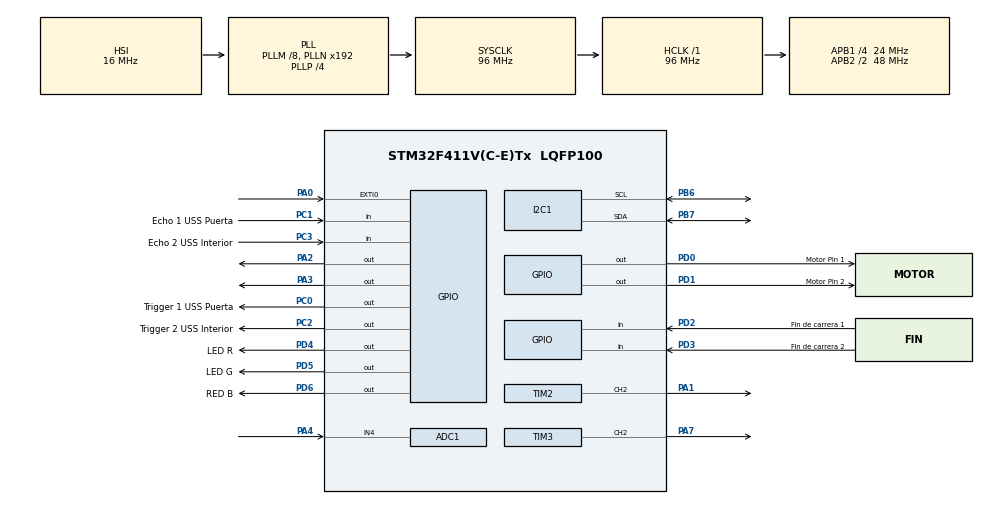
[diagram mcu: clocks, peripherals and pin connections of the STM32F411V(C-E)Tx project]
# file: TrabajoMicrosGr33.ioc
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ADC1.Channel-0\#ChannelRegularConversion=ADC_CHANNEL_4
ADC1.NbrOfConversionFlag=1
ADC1.Rank-0\#ChannelRegularConversion=1
ADC1.SamplingTime-0\#ChannelRegularConversion=ADC_SAMPLETIME_3CYCLES
ADC1.master=1
Mcu.Family=STM32F4
Mcu.Name=STM32F411V(C-E)Tx
Mcu.Package=LQFP100
NVIC.EXTI0_IRQn=true\:0\:0\:false\:false\:true\:true\:true\:true
NVIC.PriorityGroup=NVIC_PRIORITYGROUP_0
NVIC.TIM3_IRQn=true\:0\:0\:false\:false\:true\:true\:true\:true
PA0-WKUP.Signal=GPXTI0
PA1.Signal=S_TIM2_CH2
PA2.Signal=GPIO_Output
PA3.Signal=GPIO_Output
PA4.Signal=ADCx_IN4
PA7.Signal=S_TIM3_CH2
PB6.GPIO_Pu=GPIO_PULLUP
PB6.Mode=I2C
PB6.Signal=I2C1_SCL
PB7.GPIO_Pu=GPIO_PULLUP
PB7.Mode=I2C
PB7.Signal=I2C1_SDA
PC0.GPIO_Label=Trigger 1 USS Puerta
PC0.Signal=GPIO_Output
PC1.GPIO_Label=Echo 1 USS Puerta
PC1.Signal=GPIO_Input
PC2.GPIO_Label=Trigger 2 USS Interior
PC2.Signal=GPIO_Output
PC3.GPIO_Label=Echo 2 USS Interior
PC3.Signal=GPIO_Input
PD0.GPIO_Label=Motor Pin 1
PD0.Signal=GPIO_Output
PD1.GPIO_Label=Motor Pin 2
PD1.Signal=GPIO_Output
PD2.GPIO_Label=Fin de carrera 1
PD2.GPIO_PuPd=GPIO_PULLUP
PD2.Signal=GPIO_Input
PD3.GPIO_Label=Fin de carrera 2
PD3.GPIO_PuPd=GPIO_PULLUP
PD3.Signal=GPIO_Input
PD4.GPIO_Label=LED R
PD4.Signal=GPIO_Output
PD5.GPIO_Label=LED G
PD5.Signal=GPIO_Output
PD6.GPIO_Label=RED B
PD6.Signal=GPIO_Output
ProjectManager.HeapSize=0x200
ProjectManager.StackSize=0x400
ProjectManager.TargetToolchain=STM32CubeIDE
RCC.48MHZClocksFreq_Value=48000000
RCC.AHBFreq_Value=96000000
RCC.APB1CLKDivider=RCC_HCLK_DIV4
RCC.APB1Freq_Value=24000000
RCC.APB1TimFreq_Value=48000000
RCC.APB2CLKDivider=RCC_HCLK_DIV2
RCC.APB2Freq_Value=48000000
RCC.APB2TimFreq_Value=96000000
RCC.CortexFreq_Value=96000000
RCC.HCLKFreq_Value=96000000
RCC.HSE_VALUE=8000000
RCC.HSI_VALUE=16000000
RCC.LSE_VALUE=32768
RCC.PLLI2SM=5
RCC.PLLI2SN=200
RCC.PLLM=8
RCC.PLLP=RCC_PLLP_DIV4
RCC.PLLQ=8
RCC.SYSCLKFreq_VALUE=96000000
RCC.SYSCLKSource=RCC_SYSCLKSOURCE_PLLCLK
RCC.VCOOutputFreq_Value=384000000
SH.ADCx_IN4.0=ADC1_IN4,IN4
SH.S_TIM2_CH2.0=TIM2_CH2,PWM Generation2 CH2
SH.S_TIM3_CH2.0=TIM3_CH2,PWM Generation2 CH2
TIM2.Channel-PWM\ Generation2\ CH2=TIM_CHANNEL_2
TIM2.Period=999
TIM2.Prescaler=99
TIM3.Channel-PWM\ Generation2\ CH2=TIM_CHANNEL_2
TIM3.Period=2000
TIM3.Prescaler=480
board=STM32F411E-DISCO

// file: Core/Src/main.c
/* USER CODE BEGIN Header */
/**
 ******************************************************************************
 * @file           : main.c
 * @brief          : Main program body
 ******************************************************************************
 * @attention
 *
 * Copyright (c) 2025 STMicroelectronics.
 * All rights reserved.
 *
 * This software is licensed under terms that can be found in the LICENSE file
 * in the root directory of this software component.
 * If no LICENSE file comes with this software, it is provided AS-IS.
 *
 ******************************************************************************
 */
/* USER CODE END Header */
#include "main.h"

/* USER CODE BEGIN Includes */
#include <stdio.h>
#include <stdbool.h>
/* USER CODE END Includes */

/* USER CODE BEGIN PTD */
typedef enum {
	CERRADO, ABRIR, ABIERTO, CERRAR
} EstadoPuerta;

/* USER CODE END PTD */

/* USER CODE BEGIN PD */
// Dirección I2C del SHT85 (ver datasheet para confirmar)
#define SHT85_I2C_ADDR 0x44 << 1 // Cambia si usas otra configuración

// Comando para iniciar la medición
#define SHT85_CMD_MEASURE_HIGHREP 0x2400

#define USS1_THRESHOLD 20 // distancia en cm que tiene que detectar el sesnro de la puerta
#define USS1_READTIME 50

/* USER CODE END PD */

ADC_HandleTypeDef hadc1;
uint32_t adcValue;

I2C_HandleTypeDef hi2c1;

TIM_HandleTypeDef htim2;
TIM_HandleTypeDef htim3;

/* USER CODE BEGIN PV */
// Variables USUARIO INICIO. Para ajustar tiempos de muestreo de temperatura
uint16_t samplingPeriod = 200; // tiempo de muestreo de temperaturas (en ms)
uint16_t averagePeriod = 5; // tiempo deseado para calcular las temperaturas medias (en segundos)
bool alarmWithActualTemp = true; // TRUE: alarma se detecta mas rapido (con temp actual). FALSE: alarma se detecta mas lento (con temp media, se espera a leer varios datos)
// Variables USUARIO FIN

//Variables GLOBALES:
// SENSOR ULTRASONIDOS INICIO
uint32_t tiempoRef;
float dist = 100.0f;
bool flagDoor = false;   // flag puerta abierta (true). puerta cerrada (false)
uint8_t led_rojo_encendido = 0; // Bandera para indicar si el LED rojo está encendido
uint32_t tiempo_inicio_led_rojo = 0; // Almacena el tiempo de encendido del LED rojo
// SENSOR ULTRASONIDOS FIN

// SENSOR SHT85 TEMPERATURA INICIO
float temperature = 0.0f;
float humidity = 0.0f;
uint16_t temp_raw = 0, hum_raw = 0;
bool alarm = true; // Estado de la alarma (TRUE: apagada, FALSE: activa)
float temperature_max;
// Variables para antirrebotes en control de alarma
uint32_t lastTimeAlarmUp = 0; // Tiempo desde que se incremento el counterTempAlarmUp
uint8_t counterTempAlarmUp = 0; // Contador de mediciones consecutivas cuando la temperatura se sale del rango
uint32_t lastTimeAlarmDown = 0; // Tiempo desde que se incremento el counterTempAlarmDown
uint8_t counterTempAlarmDown = 0; // Contador de mediciones consecutivas cuando la temperatura entra en rango de nuevo
uint8_t maxCounterTempAlarm = 5; // Máximo número de mediciones necesarias
//Variables para concurrencia entre lecturas sensor SHT85 y control de alarma
uint32_t lastTimeSHT = 0; // Tiempo de la última lectura del sensor
uint32_t lastTimeIncreasingLight = 0; // Tiempo desde que se incremento o decremento el duty en el led rojo
uint16_t duty = 1000; // Ciclo de trabajo del led rojo
bool increasingLight = true; // Control de dirección del ciclo de trabajo. TRUE incrementa luz. FALSE decrementa luz
// Calculo de temperaturas medias cada 1 segundo (5 muestras recogidas cada 200ms cada una)
float totalTemperature = 0.0f;
float averageTemperature = 0.0f;
uint8_t sampleCount = 0;
// SENSOR SHT85 TEMPERATURA FIN

// SERVO CON INTERRUPCIONES INICIO
volatile uint8_t contador = 0;
uint8_t ISR = 0; //Flag
uint8_t state = 0; //estado (puerta abierta o puerta cerrada)
uint32_t lastTimeServoMove = 0;
// SERVO CON INTERRUPCIONES FIN

// SENSORES ULTRASONIDO
float distanciaUSS1 = 100.0f;
float distanciaUSS2 = 100.0f;
uint32_t tiempoLectura = 0;

// PUERTA
EstadoPuerta estado_actual = CERRAR;

/* USER CODE END PV */

void SystemClock_Config(void);
static void MX_GPIO_Init(void);
static void MX_I2C1_Init(void);
static void MX_TIM2_Init(void);
static void MX_TIM3_Init(void);
static void MX_ADC1_Init(void);
/* USER CODE BEGIN PFP */
void DWT_Delay_us(uint32_t us);
float HC_SR041_ReadDistance(void); // Función para medir la distancia del sensor
float HC_SR042_ReadDistance(void); // Función para medir la distancia del sensor
void LED_Red_On(void);
void LED_Green_On(void);
void LED_Blue_On(void);
void LED_All_Off(void);

// SENSOR SHT85 TEMPERATURA INICIO
void ReadSHT85(float *temperature, float *humidity);

bool setAlarm(float temp);

void calculatorAverageTemperature(float newTemperature);
// SENSOR SHT85 TEMPERATURA FIN

// SERVO CON INTERRUPCIONES INICIO
void HAL_GPIO_EXTI_Callback(uint16_t GPIO_PIN) {
	if (GPIO_PIN == GPIO_PIN_0 && ISR == 0) {
		ISR = 1; // Se activa la bandera o flag
		lastTimeServoMove = HAL_GetTick(); // Se actualiza referencia
		if (state == 0) {
			__HAL_TIM_SET_COMPARE(&htim3, TIM_CHANNEL_2, 160); // Ventana abierta
		} else {
			__HAL_TIM_SET_COMPARE(&htim3, TIM_CHANNEL_2, 240); // Ventana cerrada
		}

		if (state == 0) {
			state = 1;
		} else {
			state = 0;
		}
	}
}
// SERVO CON INTERRUPCIONES FIN

/* USER CODE END PFP */

int main(void)
{

  /* MCU Configuration--------------------------------------------------------*/

  /* Reset of all peripherals, Initializes the Flash interface and the Systick. */
  HAL_Init();

  /* USER CODE BEGIN Init */
	// Habilitar el TRC (Trace Control)
	CoreDebug->DEMCR |= CoreDebug_DEMCR_TRCENA_Msk;
	// Reiniciar el contador de ciclos
	DWT->CYCCNT = 0;
	// Habilitar el contador
	DWT->CTRL |= DWT_CTRL_CYCCNTENA_Msk;

  /* USER CODE END Init */

  /* Configure the system clock */
  SystemClock_Config();

  /* Initialize all configured peripherals */
  MX_GPIO_Init();
  MX_I2C1_Init();
  MX_TIM2_Init();
  MX_TIM3_Init();
  MX_ADC1_Init();
  /* USER CODE BEGIN 2 */

	// SENSOR SHT85 TEMPERATURA INICIO
	HAL_GPIO_WritePin(GPIOA, GPIO_PIN_3, GPIO_PIN_SET); // Apagar ventilador
	HAL_GPIO_WritePin(GPIOA, GPIO_PIN_2, GPIO_PIN_SET); // Set Apaga el led verde del RGB

	// Inicia el PWM en el canal 2 (PA1 - LED Rojo)
	HAL_TIM_PWM_Start(&htim2, TIM_CHANNEL_2);
	__HAL_TIM_SET_COMPARE(&htim2, TIM_CHANNEL_2, 1000); // Configura el ciclo de trabajo a 1000 (Rojo apagado)

	lastTimeSHT = HAL_GetTick();
	lastTimeIncreasingLight = HAL_GetTick();
	tiempo_inicio_led_rojo = HAL_GetTick();

	// SENSOR SHT85 TEMPERATURA FIN

	// SERVO CON INTERRUPCIONES INICIO
	HAL_TIM_PWM_Start(&htim3, TIM_CHANNEL_2);

	__HAL_TIM_SET_COMPARE(&htim3, TIM_CHANNEL_2, 240); // Mueve el servo a la posicion inicial de 180º
	// SERVO CON INTERRUPCIONES FIN

  /* USER CODE END 2 */

  /* Infinite loop */
  /* USER CODE BEGIN WHILE */
	while (1)

	{
		/* Medir la distancia */
		distanciaUSS2 = HC_SR042_ReadDistance();

		// Si el LED rojo está activo, verificar si han pasado 5 segundos
		if (led_rojo_encendido) {
			if (HAL_GetTick() - tiempo_inicio_led_rojo >= 5000) { // 5 segundos
				LED_All_Off(); // Apagar todos los LEDs
				led_rojo_encendido = 0; // Restablecer la bandera
			}
		} else {
			// Cambiar el color del LED según la distancia
			if (distanciaUSS2 < 6.0f) {
				LED_Red_On(); // Encender el LED rojo
				tiempo_inicio_led_rojo = HAL_GetTick(); // Guardar el tiempo actual
				led_rojo_encendido = 1; // Activar la bandera
			} else if (distanciaUSS2 >= 6.0f && distanciaUSS2 <= 30.0f) {
				LED_Green_On(); // Encender el LED verde
			} else {
				LED_Blue_On(); // Encender el LED azul
			}
		}

// CONTROL DE LA PUERTA INICIO

		if (HAL_GetTick() - tiempoLectura >= USS1_READTIME) {
			distanciaUSS1 = HC_SR041_ReadDistance();
			tiempoLectura = HAL_GetTick();
		}

		// FSM PUERTA INICIO

		switch (estado_actual) {
		case CERRADO:
			HAL_GPIO_WritePin(GPIOD, GPIO_PIN_0, 0);
			HAL_GPIO_WritePin(GPIOD, GPIO_PIN_1, 0);
			if (distanciaUSS1 <= USS1_THRESHOLD)
				estado_actual = ABRIR;
			break;
		case ABRIR:
			if (HAL_GPIO_ReadPin(GPIOD, GPIO_PIN_2) == 0) {
				HAL_GPIO_WritePin(GPIOD, GPIO_PIN_0, 0);
				HAL_GPIO_WritePin(GPIOD, GPIO_PIN_1, 0);
			} else {
				HAL_GPIO_WritePin(GPIOD, GPIO_PIN_0, 1);
				HAL_GPIO_WritePin(GPIOD, GPIO_PIN_1, 0);
			}
			if (distanciaUSS1 > USS1_THRESHOLD && HAL_GPIO_ReadPin(GPIOD, GPIO_PIN_2) == 0)
				estado_actual = ABIERTO;
			break;
		case ABIERTO:
			HAL_GPIO_WritePin(GPIOD, GPIO_PIN_0, 0);
			HAL_GPIO_WritePin(GPIOD, GPIO_PIN_1, 0);
			if (distanciaUSS1 <= USS1_THRESHOLD)
				estado_actual = CERRAR;
			break;
		case CERRAR:
			if (HAL_GPIO_ReadPin(GPIOD, GPIO_PIN_3) == 0) {
				HAL_GPIO_WritePin(GPIOD, GPIO_PIN_0, 0);
				HAL_GPIO_WritePin(GPIOD, GPIO_PIN_1, 0);
			} else {
				HAL_GPIO_WritePin(GPIOD, GPIO_PIN_0, 0);
				HAL_GPIO_WritePin(GPIOD, GPIO_PIN_1, 1);
			}
			if (distanciaUSS1 > USS1_THRESHOLD && HAL_GPIO_ReadPin(GPIOD, GPIO_PIN_3) == 0)
				estado_actual = CERRADO;
			break;
		}

		// FSM PUERTA FIN

// CONTROL DE LA PUERTA FIN

		// SENSOR SHT85 TEMPERATURA INICIO

		// Ajuste del valor de temperatura para encender el ventilador
		  HAL_ADC_Start(&hadc1);

		  // Esperar a que la conversión finalice
		  if (HAL_ADC_PollForConversion(&hadc1, HAL_MAX_DELAY) == HAL_OK) {
			  // Leer el valor ADC convertido
			  adcValue = HAL_ADC_GetValue(&hadc1);
			  temperature_max = 15 + (adcValue/4095)*15; // Obtiene un valor entre 15 y 30 grados centigrados
		  }
		  // Detener la conversión
		  HAL_ADC_Stop(&hadc1);

		// Control de ventilador y leds

		if (HAL_GetTick() - lastTimeSHT >= samplingPeriod) { // Leer los sensores cada 200 ms (periodo de muestreo)
			lastTimeSHT = HAL_GetTick(); // Se actualiza referencia
			ReadSHT85(&temperature, &humidity); // Leer sensores
			calculatorAverageTemperature(temperature); // Se calculan temperaturas medias
			float temperatureToCheck =
					alarmWithActualTemp ? temperature : averageTemperature;
			alarm = setAlarm(temperatureToCheck); // Verificar alarma. Si se quiere controlar la alarma con la temperatura media. Se activa más tarde
		}

		if (!alarm) { // La alarma se activa pq se supera temperatura maxima
					  // Incrementa gradualmente la intensidad del led rojo del RGB
			if (HAL_GetTick() - lastTimeIncreasingLight >= 20) {
				lastTimeIncreasingLight = HAL_GetTick();

				if (increasingLight) {
					duty -= 50; // Decrementar el ciclo de trabajo (lógica inversa)
					if (duty <= 0) {
						duty = 0;
						// Insertar bocina, aqui llega al pico maximo de luz
						increasingLight = false; // Cambiar dirección
					}
				} else {
					duty += 50; // Incrementar el ciclo de trabajo
					if (duty >= 1000) {
						duty = 1000;
						increasingLight = true; // Cambiar dirección
					}
				}

				__HAL_TIM_SET_COMPARE(&htim2, TIM_CHANNEL_2, duty); // Ajusta el ciclo de trabajo del led rojo
			}

			HAL_GPIO_WritePin(GPIOA, GPIO_PIN_3, GPIO_PIN_RESET); // Encender VENTILADOR
			HAL_GPIO_WritePin(GPIOA, GPIO_PIN_2, GPIO_PIN_SET); // AMARILLO (ROJO + VERDE)

		} else {
			HAL_GPIO_WritePin(GPIOA, GPIO_PIN_3, GPIO_PIN_SET); // Apagar VENTILADOR
			__HAL_TIM_SET_COMPARE(&htim2, TIM_CHANNEL_2, 0); // AMARILLO (ROJO + VERDE)
			HAL_GPIO_WritePin(GPIOA, GPIO_PIN_2, GPIO_PIN_RESET); // AMARILLO (ROJO + VERDE)
		}
		// SENSOR SHT85 TEMPERATURA FIN

		// SERVO CON INTERRUPCIONES INICIO
		while (ISR == 1) {
			if (HAL_GetTick() - lastTimeServoMove >= 380) { // Esto impide invertir el sentido de giro cuando ya ha empezado a moverse el servo. 380ms es lo que tarda en pasar de mover de 0 a 180º
				lastTimeServoMove = HAL_GetTick(); // Se actualiza referencia
				ISR = 0; // Se baja la bandera cuando pasan 380ms
			}
		}

		// SERVO CON INTERRUPCIONES FIN
    /* USER CODE END WHILE */

	}
}

void SystemClock_Config(void)
{
  RCC_OscInitTypeDef RCC_OscInitStruct = {0};
  RCC_ClkInitTypeDef RCC_ClkInitStruct = {0};

  /** Configure the main internal regulator output voltage
  */
  __HAL_RCC_PWR_CLK_ENABLE();
  __HAL_PWR_VOLTAGESCALING_CONFIG(PWR_REGULATOR_VOLTAGE_SCALE1);

  /** Initializes the RCC Oscillators according to the specified parameters
  * in the RCC_OscInitTypeDef structure.
  */
  RCC_OscInitStruct.OscillatorType = RCC_OSCILLATORTYPE_HSI;
  RCC_OscInitStruct.HSIState = RCC_HSI_ON;
  RCC_OscInitStruct.HSICalibrationValue = RCC_HSICALIBRATION_DEFAULT;
  RCC_OscInitStruct.PLL.PLLState = RCC_PLL_ON;
  RCC_OscInitStruct.PLL.PLLSource = RCC_PLLSOURCE_HSI;
  RCC_OscInitStruct.PLL.PLLM = 8;
  RCC_OscInitStruct.PLL.PLLN = 192;
  RCC_OscInitStruct.PLL.PLLP = RCC_PLLP_DIV4;
  RCC_OscInitStruct.PLL.PLLQ = 8;
  if (HAL_RCC_OscConfig(&RCC_OscInitStruct) != HAL_OK)
  {
    Error_Handler();
  }

  /** Initializes the CPU, AHB and APB buses clocks
  */
  RCC_ClkInitStruct.ClockType = RCC_CLOCKTYPE_HCLK|RCC_CLOCKTYPE_SYSCLK
                              |RCC_CLOCKTYPE_PCLK1|RCC_CLOCKTYPE_PCLK2;
  RCC_ClkInitStruct.SYSCLKSource = RCC_SYSCLKSOURCE_PLLCLK;
  RCC_ClkInitStruct.AHBCLKDivider = RCC_SYSCLK_DIV1;
  RCC_ClkInitStruct.APB1CLKDivider = RCC_HCLK_DIV4;
  RCC_ClkInitStruct.APB2CLKDivider = RCC_HCLK_DIV2;

  if (HAL_RCC_ClockConfig(&RCC_ClkInitStruct, FLASH_LATENCY_3) != HAL_OK)
  {
    Error_Handler();
  }
}

static void MX_ADC1_Init(void)
{

  ADC_ChannelConfTypeDef sConfig = {0};

  /** Configure the global features of the ADC (Clock, Resolution, Data Alignment and number of conversion)
  */
  hadc1.Instance = ADC1;
  hadc1.Init.ClockPrescaler = ADC_CLOCK_SYNC_PCLK_DIV2;
  hadc1.Init.Resolution = ADC_RESOLUTION_12B;
  hadc1.Init.ScanConvMode = DISABLE;
  hadc1.Init.ContinuousConvMode = DISABLE;
  hadc1.Init.DiscontinuousConvMode = DISABLE;
  hadc1.Init.ExternalTrigConvEdge = ADC_EXTERNALTRIGCONVEDGE_NONE;
  hadc1.Init.ExternalTrigConv = ADC_SOFTWARE_START;
  hadc1.Init.DataAlign = ADC_DATAALIGN_RIGHT;
  hadc1.Init.NbrOfConversion = 1;
  hadc1.Init.DMAContinuousRequests = DISABLE;
  hadc1.Init.EOCSelection = ADC_EOC_SINGLE_CONV;
  if (HAL_ADC_Init(&hadc1) != HAL_OK)
  {
    Error_Handler();
  }

  /** Configure for the selected ADC regular channel its corresponding rank in the sequencer and its sample time.
  */
  sConfig.Channel = ADC_CHANNEL_4;
  sConfig.Rank = 1;
  sConfig.SamplingTime = ADC_SAMPLETIME_3CYCLES;
  if (HAL_ADC_ConfigChannel(&hadc1, &sConfig) != HAL_OK)
  {
    Error_Handler();
  }

}

static void MX_I2C1_Init(void)
{

  hi2c1.Instance = I2C1;
  hi2c1.Init.ClockSpeed = 100000;
  hi2c1.Init.DutyCycle = I2C_DUTYCYCLE_2;
  hi2c1.Init.OwnAddress1 = 0;
  hi2c1.Init.AddressingMode = I2C_ADDRESSINGMODE_7BIT;
  hi2c1.Init.DualAddressMode = I2C_DUALADDRESS_DISABLE;
  hi2c1.Init.OwnAddress2 = 0;
  hi2c1.Init.GeneralCallMode = I2C_GENERALCALL_DISABLE;
  hi2c1.Init.NoStretchMode = I2C_NOSTRETCH_DISABLE;
  if (HAL_I2C_Init(&hi2c1) != HAL_OK)
  {
    Error_Handler();
  }

}

static void MX_TIM2_Init(void)
{

  TIM_MasterConfigTypeDef sMasterConfig = {0};
  TIM_OC_InitTypeDef sConfigOC = {0};

  htim2.Instance = TIM2;
  htim2.Init.Prescaler = 99;
  htim2.Init.CounterMode = TIM_COUNTERMODE_UP;
  htim2.Init.Period = 999;
  htim2.Init.ClockDivision = TIM_CLOCKDIVISION_DIV1;
  htim2.Init.AutoReloadPreload = TIM_AUTORELOAD_PRELOAD_DISABLE;
  if (HAL_TIM_PWM_Init(&htim2) != HAL_OK)
  {
    Error_Handler();
  }
  sMasterConfig.MasterOutputTrigger = TIM_TRGO_RESET;
  sMasterConfig.MasterSlaveMode = TIM_MASTERSLAVEMODE_DISABLE;
  if (HAL_TIMEx_MasterConfigSynchronization(&htim2, &sMasterConfig) != HAL_OK)
  {
    Error_Handler();
  }
  sConfigOC.OCMode = TIM_OCMODE_PWM1;
  sConfigOC.Pulse = 0;
  sConfigOC.OCPolarity = TIM_OCPOLARITY_HIGH;
  sConfigOC.OCFastMode = TIM_OCFAST_DISABLE;
  if (HAL_TIM_PWM_ConfigChannel(&htim2, &sConfigOC, TIM_CHANNEL_2) != HAL_OK)
  {
    Error_Handler();
  }
  HAL_TIM_MspPostInit(&htim2);

}

static void MX_TIM3_Init(void)
{

  TIM_MasterConfigTypeDef sMasterConfig = {0};
  TIM_OC_InitTypeDef sConfigOC = {0};

  htim3.Instance = TIM3;
  htim3.Init.Prescaler = 480;
  htim3.Init.CounterMode = TIM_COUNTERMODE_UP;
  htim3.Init.Period = 2000;
  htim3.Init.ClockDivision = TIM_CLOCKDIVISION_DIV1;
  htim3.Init.AutoReloadPreload = TIM_AUTORELOAD_PRELOAD_DISABLE;
  if (HAL_TIM_PWM_Init(&htim3) != HAL_OK)
  {
    Error_Handler();
  }
  sMasterConfig.MasterOutputTrigger = TIM_TRGO_RESET;
  sMasterConfig.MasterSlaveMode = TIM_MASTERSLAVEMODE_DISABLE;
  if (HAL_TIMEx_MasterConfigSynchronization(&htim3, &sMasterConfig) != HAL_OK)
  {
    Error_Handler();
  }
  sConfigOC.OCMode = TIM_OCMODE_PWM1;
  sConfigOC.Pulse = 0;
  sConfigOC.OCPolarity = TIM_OCPOLARITY_HIGH;
  sConfigOC.OCFastMode = TIM_OCFAST_DISABLE;
  if (HAL_TIM_PWM_ConfigChannel(&htim3, &sConfigOC, TIM_CHANNEL_2) != HAL_OK)
  {
    Error_Handler();
  }
  HAL_TIM_MspPostInit(&htim3);

}

static void MX_GPIO_Init(void)
{
  GPIO_InitTypeDef GPIO_InitStruct = {0};

  /* GPIO Ports Clock Enable */
  __HAL_RCC_GPIOC_CLK_ENABLE();
  __HAL_RCC_GPIOA_CLK_ENABLE();
  __HAL_RCC_GPIOD_CLK_ENABLE();
  __HAL_RCC_GPIOB_CLK_ENABLE();

  /*Configure GPIO pin Output Level */
  HAL_GPIO_WritePin(GPIOC, Trigger_1_USS_Puerta_Pin|Trigger_2_USS_Interior_Pin, GPIO_PIN_RESET);

  /*Configure GPIO pin Output Level */
  HAL_GPIO_WritePin(GPIOA, GPIO_PIN_2|GPIO_PIN_3, GPIO_PIN_RESET);

  /*Configure GPIO pin Output Level */
  HAL_GPIO_WritePin(GPIOD, Motor_Pin_1_Pin|Motor_Pin_2_Pin|LED_R_Pin|LED_G_Pin
                          |RED_B_Pin, GPIO_PIN_RESET);

  /*Configure GPIO pins : Trigger_1_USS_Puerta_Pin Trigger_2_USS_Interior_Pin */
  GPIO_InitStruct.Pin = Trigger_1_USS_Puerta_Pin|Trigger_2_USS_Interior_Pin;
  GPIO_InitStruct.Mode = GPIO_MODE_OUTPUT_PP;
  GPIO_InitStruct.Pull = GPIO_NOPULL;
  GPIO_InitStruct.Speed = GPIO_SPEED_FREQ_LOW;
  HAL_GPIO_Init(GPIOC, &GPIO_InitStruct);

  /*Configure GPIO pins : Echo_1_USS_Puerta_Pin Echo_2_USS_Interior_Pin */
  GPIO_InitStruct.Pin = Echo_1_USS_Puerta_Pin|Echo_2_USS_Interior_Pin;
  GPIO_InitStruct.Mode = GPIO_MODE_INPUT;
  GPIO_InitStruct.Pull = GPIO_NOPULL;
  HAL_GPIO_Init(GPIOC, &GPIO_InitStruct);

  /*Configure GPIO pin : PA0 */
  GPIO_InitStruct.Pin = GPIO_PIN_0;
  GPIO_InitStruct.Mode = GPIO_MODE_IT_RISING;
  GPIO_InitStruct.Pull = GPIO_NOPULL;
  HAL_GPIO_Init(GPIOA, &GPIO_InitStruct);

  /*Configure GPIO pins : PA2 PA3 */
  GPIO_InitStruct.Pin = GPIO_PIN_2|GPIO_PIN_3;
  GPIO_InitStruct.Mode = GPIO_MODE_OUTPUT_PP;
  GPIO_InitStruct.Pull = GPIO_NOPULL;
  GPIO_InitStruct.Speed = GPIO_SPEED_FREQ_LOW;
  HAL_GPIO_Init(GPIOA, &GPIO_InitStruct);

  /*Configure GPIO pins : Motor_Pin_1_Pin Motor_Pin_2_Pin LED_R_Pin LED_G_Pin
                           RED_B_Pin */
  GPIO_InitStruct.Pin = Motor_Pin_1_Pin|Motor_Pin_2_Pin|LED_R_Pin|LED_G_Pin
                          |RED_B_Pin;
  GPIO_InitStruct.Mode = GPIO_MODE_OUTPUT_PP;
  GPIO_InitStruct.Pull = GPIO_NOPULL;
  GPIO_InitStruct.Speed = GPIO_SPEED_FREQ_LOW;
  HAL_GPIO_Init(GPIOD, &GPIO_InitStruct);

  /*Configure GPIO pins : Fin_de_carrera_1_Pin Fin_de_carrera_2_Pin */
  GPIO_InitStruct.Pin = Fin_de_carrera_1_Pin|Fin_de_carrera_2_Pin;
  GPIO_InitStruct.Mode = GPIO_MODE_INPUT;
  GPIO_InitStruct.Pull = GPIO_PULLUP;
  HAL_GPIO_Init(GPIOD, &GPIO_InitStruct);

  /* EXTI interrupt init*/
  HAL_NVIC_SetPriority(EXTI0_IRQn, 0, 0);
  HAL_NVIC_EnableIRQ(EXTI0_IRQn);

}

/* USER CODE BEGIN 4 */

// FUNCIONES PARA EL USS INICIO
float HC_SR041_ReadDistance(void) {
	uint32_t tiempoEcho_us = 0;
	float distancia_cm = 0.0f;

	// 1) Generar pulso de 10 us en TRIG (PC0)
	HAL_GPIO_WritePin(GPIOC, GPIO_PIN_0, GPIO_PIN_RESET);
	DWT_Delay_us(2);      // Pequeño retraso
	HAL_GPIO_WritePin(GPIOC, GPIO_PIN_0, GPIO_PIN_SET);
	DWT_Delay_us(10);     // Pulso de 10 us
	HAL_GPIO_WritePin(GPIOC, GPIO_PIN_0, GPIO_PIN_RESET);

	// 2) Esperar a que Echo (PC1) se ponga en alto
	while (HAL_GPIO_ReadPin(GPIOC, GPIO_PIN_1) == GPIO_PIN_RESET)
		;

	// Iniciamos conteo de tiempo
	uint32_t startTick = DWT->CYCCNT;

	// 3) Esperar a que Echo se ponga en bajo
	while (HAL_GPIO_ReadPin(GPIOC, GPIO_PIN_1) == GPIO_PIN_SET)
		;

	// Fin de la medición
	uint32_t endTick = DWT->CYCCNT;

	// 4) Calcular duración en microsegundos
	//    Suponiendo SystemCoreClock = 168 MHz
	//    1 tick DWT ~ 1/168e6 s => us = ticks / (168e6/1e6)
	tiempoEcho_us = (uint32_t) ((endTick - startTick)
			/ (SystemCoreClock / 1000000.0f));

	// 5) Calcular distancia en cm
	//    Distancia (cm) ≈ tiempoEcho_us / 58
	distancia_cm = (float) tiempoEcho_us / 58.0f;

	return distancia_cm;
}

float HC_SR042_ReadDistance(void) {
	uint32_t tiempoEcho_us = 0;
	float distancia_cm = 0.0f;

	// 1) Generar pulso de 10 us en TRIG (PC0)
	HAL_GPIO_WritePin(GPIOC, GPIO_PIN_2, GPIO_PIN_RESET);
	DWT_Delay_us(2);      // Pequeño retraso
	HAL_GPIO_WritePin(GPIOC, GPIO_PIN_2, GPIO_PIN_SET);
	DWT_Delay_us(10);     // Pulso de 10 us
	HAL_GPIO_WritePin(GPIOC, GPIO_PIN_2, GPIO_PIN_RESET);

	// 2) Esperar a que Echo (PC1) se ponga en alto
	while (HAL_GPIO_ReadPin(GPIOC, GPIO_PIN_3) == GPIO_PIN_RESET)
		;

	// Iniciamos conteo de tiempo
	uint32_t startTick = DWT->CYCCNT;

	// 3) Esperar a que Echo se ponga en bajo
	while (HAL_GPIO_ReadPin(GPIOC, GPIO_PIN_3) == GPIO_PIN_SET);

	// Fin de la medición
	uint32_t endTick = DWT->CYCCNT;

	// 4) Calcular duración en microsegundos
	//    Suponiendo SystemCoreClock = 168 MHz
	//    1 tick DWT ~ 1/168e6 s => us = ticks / (168e6/1e6)
	tiempoEcho_us = (uint32_t) ((endTick - startTick)
			/ (SystemCoreClock / 1000000.0f));

	// 5) Calcular distancia en cm
	//    Distancia (cm) ≈ tiempoEcho_us / 58
	distancia_cm = (float) tiempoEcho_us / 58.0f;

	return distancia_cm;
}
/**
 * @brief Retardo en microsegundos usando DWT
 * @param us: microsegundos a esperar
 */
void DWT_Delay_us(uint32_t us) {
	// Valor inicial de conteo
	uint32_t startTick = DWT->CYCCNT;
	// Calcular cuántos ticks de CPU corresponden a "us" microsegundos
	uint32_t ticks = us * (SystemCoreClock / 1000000UL);
	// Esperar hasta que se cumpla
	while ((DWT->CYCCNT - startTick) < ticks)
		;
}

// FUNCIONES PARA EL USS INICIO

// SENSOR SHT85 TEMPERATURA INICIO
void ReadSHT85(float *temperature, float *humidity) {
	uint8_t cmd[2] = {
	SHT85_CMD_MEASURE_HIGHREP >> 8, SHT85_CMD_MEASURE_HIGHREP & 0xFF };
	uint8_t data[6];

	// Enviar el comando para iniciar la medición
	HAL_I2C_Master_Transmit(&hi2c1, SHT85_I2C_ADDR, cmd, 2, HAL_MAX_DELAY);

	// Esperar unos 10 ms para completar la medición
	HAL_Delay(20);

	// Leer los 6 bytes de datos
	HAL_I2C_Master_Receive(&hi2c1, SHT85_I2C_ADDR, data, 6, HAL_MAX_DELAY);

	// Convertir los datos recibidos
	temp_raw = (data[0] << 8) | data[1];
	hum_raw = (data[3] << 8) | data[4];

	// Calcular temperatura y humedad (según el datasheet del SHT85)
	*temperature = -45 + 175 * ((float) temp_raw / 65535);
	*humidity = 100 * ((float) hum_raw / 65535);
}

bool setAlarm(float temp) {		// TRUE apagado. FALSE alarma encendida
	static bool alarmState = true; // Estado de la alarma (true: apagada, false: activa)
	uint32_t alarmPeriod =
			alarmWithActualTemp ? samplingPeriod : (averagePeriod * 1000);

	if (temp > temperature_max) {
		counterTempAlarmDown = 0; // Si la temperatura se sale de rango, reiniciar el contador para cuando entra en el rango

		if (HAL_GetTick() - lastTimeAlarmUp >= alarmPeriod) { //si se quiere controlar la alarma con la temperatura acutal o media
			lastTimeAlarmUp = HAL_GetTick(); // Se actualiza el tiempo de referencia
			if (temp <= temperature_max) {
				counterTempAlarmUp = 0;
			} //Si entra dentro de rango: "falsa" medicion
			else {
				counterTempAlarmUp++;
			}	// Lectura correcta: fuera de rango

			if (counterTempAlarmUp >= maxCounterTempAlarm) { //Se da por buena la lectura: FUERA DE RANGO VERIFICADO
				counterTempAlarmUp = maxCounterTempAlarm;
				alarmState = false; // Alarma activada (fuera de rango confirmado)
			}
		}
	} else {
		counterTempAlarmUp = 0; // Si la temperatura vuelve al rango normal, reiniciar el contador para cuando se sale de rango
		// Debouncer
		if (HAL_GetTick() - lastTimeAlarmDown >= alarmPeriod) { //si se quiere controlar la alarma con la temperatura actual o media
			lastTimeAlarmDown = HAL_GetTick(); // Se actualiza el tiempo de referencia
			if (temp > temperature_max) {
				counterTempAlarmDown = 0;
			} //Si sale fuera de rango: "falsa" medicion
			else {
				counterTempAlarmDown++;
			}	// Lectura correcta: dentro de rango

			if (counterTempAlarmDown >= maxCounterTempAlarm) { //Se da por buena la lectura: DENTRO DE RANGO VERIFICADO
				counterTempAlarmDown = maxCounterTempAlarm; // Limitar el contador
				alarmState = true; // TRUE: alarma se apaga
			}
		}
	}
	return alarmState;
}

void calculatorAverageTemperature(float newTemperature) {
	totalTemperature += newTemperature;
	sampleCount++;

	if (sampleCount >= averagePeriod * 1000 / samplingPeriod) { // Se leen por ejemplo 25 muestras (durante 5 segundos. 200ms de tiempo de muestreo)
		averageTemperature = totalTemperature
				/ (averagePeriod * 1000 / samplingPeriod);
		totalTemperature = 0.0f; // Reinicia acumulador
		sampleCount = 0;
	}
}

// SENSOR SHT85 TEMPERATURA FIN

// LED RGB INICIO

void LED_Red_On(void) {
	HAL_GPIO_WritePin(GPIOD, GPIO_PIN_5, GPIO_PIN_SET); // Encender Rojo
	HAL_GPIO_WritePin(GPIOD, GPIO_PIN_6, GPIO_PIN_RESET); // Apagar Verde
	HAL_GPIO_WritePin(GPIOD, GPIO_PIN_4, GPIO_PIN_RESET); // Apagar Azul
}

void LED_Green_On(void) {
	HAL_GPIO_WritePin(GPIOD, GPIO_PIN_6, GPIO_PIN_RESET); // Encender Verde
	HAL_GPIO_WritePin(GPIOD, GPIO_PIN_5, GPIO_PIN_SET); // Apagar Rojo
	HAL_GPIO_WritePin(GPIOD, GPIO_PIN_4, GPIO_PIN_SET); // Apagar Azul
}

void LED_Blue_On(void) {
	HAL_GPIO_WritePin(GPIOD, GPIO_PIN_4, GPIO_PIN_SET); // Encender Azul
	HAL_GPIO_WritePin(GPIOD, GPIO_PIN_5, GPIO_PIN_RESET); // Apagar Rojo
	HAL_GPIO_WritePin(GPIOD, GPIO_PIN_6, GPIO_PIN_RESET); // Apagar Verde
}

void LED_All_Off(void) {
	HAL_GPIO_WritePin(GPIOD, GPIO_PIN_5, GPIO_PIN_RESET); // Apagar Rojo
	HAL_GPIO_WritePin(GPIOD, GPIO_PIN_6, GPIO_PIN_RESET); // Apagar Verde
	HAL_GPIO_WritePin(GPIOD, GPIO_PIN_4, GPIO_PIN_RESET); // Apagar Azul
}

// LED RGB FIN

/* USER CODE END 4 */

void Error_Handler(void)
{
	__disable_irq();
	while (1) {
	}
}
